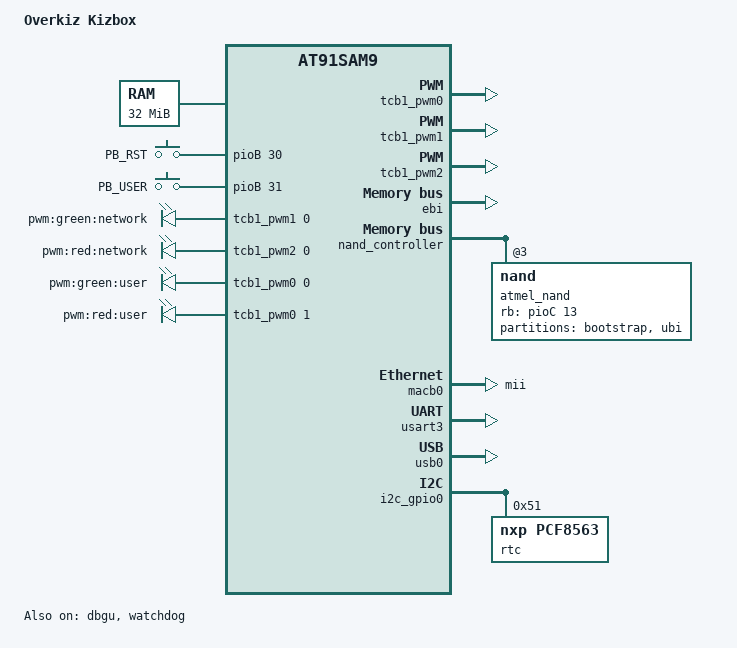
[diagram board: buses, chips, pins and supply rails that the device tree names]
// SPDX-License-Identifier: GPL-2.0-or-later
/*
 * at91-kizbox.dts - Device Tree file for Overkiz Kizbox board
 *
 * Copyright (C) 2012-2014 Boris BREZILLON <b.brezillon@overkiz.com>
 *               2014-2015 Gaël PORTAY <g.portay@overkiz.com>
 */
/dts-v1/;
#include "at91sam9g20.dtsi"
#include <dt-bindings/pwm/pwm.h>

/ {
	model = "Overkiz Kizbox";
	compatible = "overkiz,kizbox", "atmel,at91sam9g20", "atmel,at91sam9";

	chosen {
		bootargs = "ubi.mtd=ubi";
		stdout-path = &dbgu;
	};

	memory@20000000 {
		reg = <0x20000000 0x2000000>;
	};

	clocks {
		main_xtal {
			clock-frequency = <18432000>;
		};
	};

	gpio-keys {
		compatible = "gpio-keys";

		button-reset {
			label = "PB_RST";
			gpios = <&pioB 30 GPIO_ACTIVE_HIGH>;
			linux,code = <0x100>;
			wakeup-source;
		};

		button-user {
			label = "PB_USER";
			gpios = <&pioB 31 GPIO_ACTIVE_HIGH>;
			linux,code = <0x101>;
			wakeup-source;
		};
	};

	led-controller {
		compatible = "pwm-leds";

		led-1 {
			label = "pwm:green:network";
			pwms = <&tcb1_pwm1 0 10000000 PWM_POLARITY_INVERTED>;
			max-brightness = <255>;
			linux,default-trigger = "default-on";
		};

		led-2 {
			label = "pwm:red:network";
			pwms = <&tcb1_pwm2 0 10000000 PWM_POLARITY_INVERTED>;
			max-brightness = <255>;
			linux,default-trigger = "default-on";
		};

		led-3 {
			label = "pwm:green:user";
			pwms = <&tcb1_pwm0 0 10000000 PWM_POLARITY_INVERTED>;
			max-brightness = <255>;
			linux,default-trigger = "default-on";
		};

		led-4 {
			label = "pwm:red:user";
			pwms = <&tcb1_pwm0 1 10000000 PWM_POLARITY_INVERTED>;
			max-brightness = <255>;
			linux,default-trigger = "default-on";
		};
	};
};

&tcb0 {
	timer@0 {
		compatible = "atmel,tcb-timer";
		reg = <0>, <1>;
	};

	timer@2 {
		compatible = "atmel,tcb-timer";
		reg = <2>;
	};
};

&tcb1 {
	tcb1_pwm0: pwm@0 {
		compatible = "atmel,tcb-pwm";
		reg = <0>;
		#pwm-cells = <3>;
		pinctrl-names = "default";
		pinctrl-0 = <&pinctrl_tcb1_tioa0 &pinctrl_tcb1_tiob0>;
	};

	tcb1_pwm1: pwm@1 {
		compatible = "atmel,tcb-pwm";
		reg = <1>;
		#pwm-cells = <3>;
		pinctrl-names = "default";
		pinctrl-0 = <&pinctrl_tcb1_tioa1>;
	};

	tcb1_pwm2: pwm@2 {
		compatible = "atmel,tcb-pwm";
		reg = <2>;
		#pwm-cells = <3>;
		pinctrl-names = "default";
		pinctrl-0 = <&pinctrl_tcb1_tioa2>;
	};
};

&ebi {
	status = "okay";
};

&nand_controller {
	status = "okay";
	pinctrl-0 = <&pinctrl_nand_cs &pinctrl_nand_rb>;
	pinctrl-names = "default";

	nand@3 {
		reg = <0x3 0x0 0x800000>;
		rb-gpios = <&pioC 13 GPIO_ACTIVE_HIGH>;
		cs-gpios = <&pioC 14 GPIO_ACTIVE_HIGH>;
		nand-bus-width = <8>;
		nand-ecc-mode = "soft";
		nand-on-flash-bbt;
		label = "atmel_nand";

		partitions {
			compatible = "fixed-partitions";
			#address-cells = <1>;
			#size-cells = <1>;

			bootstrap@0 {
				label = "bootstrap";
				reg = <0x0 0x20000>;
			};

			ubi@20000 {
				label = "ubi";
				reg = <0x20000 0x7fe0000>;
			};
		};
	};
};

&macb0 {
	phy-mode = "mii";
	pinctrl-0 = <&pinctrl_macb_rmii
		     &pinctrl_macb_rmii_mii_alt>;
	status = "okay";
};

&usart3 {
	status = "okay";
};

&dbgu {
	status = "okay";
};

&watchdog {
	timeout-sec = <15>;
	atmel,max-heartbeat-sec = <16>;
	atmel,min-heartbeat-sec = <0>;
	status = "okay";
};

&usb0 {
	num-ports = <1>;
	status = "okay";
};

&i2c_gpio0 {
	status = "okay";

	rtc: pcf8563@51 {
		compatible = "nxp,pcf8563";
		reg = <0x51>;
	};
};
